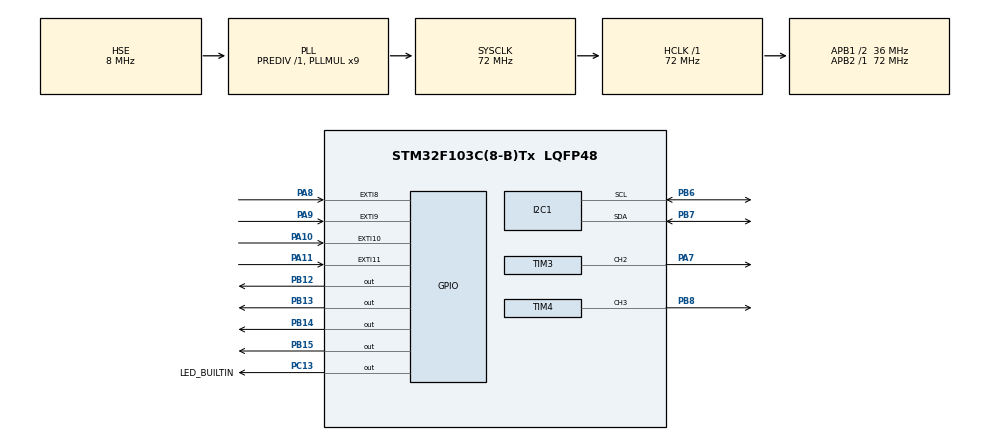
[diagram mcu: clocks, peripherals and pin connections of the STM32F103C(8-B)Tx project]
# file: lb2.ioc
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Mcu.Family=STM32F1
Mcu.Name=STM32F103C(8-B)Tx
Mcu.Package=LQFP48
NVIC.EXTI15_10_IRQn=true\:5\:0\:true\:false\:true\:true\:true\:true
NVIC.EXTI9_5_IRQn=true\:5\:0\:true\:false\:true\:true\:true\:true
NVIC.PriorityGroup=NVIC_PRIORITYGROUP_4
NVIC.TIM2_IRQn=true\:0\:0\:false\:false\:true\:true\:true\:true
PA10.GPIO_ModeDefaultEXTI=GPIO_MODE_IT_FALLING
PA10.GPIO_PuPd=GPIO_PULLUP
PA10.Signal=GPXTI10
PA11.GPIO_ModeDefaultEXTI=GPIO_MODE_IT_FALLING
PA11.GPIO_PuPd=GPIO_PULLUP
PA11.Signal=GPXTI11
PA13.Mode=Serial_Wire
PA13.Signal=SYS_JTMS-SWDIO
PA14.Mode=Serial_Wire
PA14.Signal=SYS_JTCK-SWCLK
PA7.Signal=S_TIM3_CH2
PA8.GPIO_ModeDefaultEXTI=GPIO_MODE_IT_FALLING
PA8.GPIO_PuPd=GPIO_PULLUP
PA8.Signal=GPXTI8
PA9.GPIO_ModeDefaultEXTI=GPIO_MODE_IT_FALLING
PA9.GPIO_PuPd=GPIO_PULLUP
PA9.Signal=GPXTI9
PB12.Signal=GPIO_Output
PB13.Signal=GPIO_Output
PB14.Signal=GPIO_Output
PB15.Signal=GPIO_Output
PB6.Mode=I2C
PB6.Signal=I2C1_SCL
PB7.Mode=I2C
PB7.Signal=I2C1_SDA
PB8.Signal=S_TIM4_CH3
PC13-TAMPER-RTC.GPIO_Label=LED_BUILTIN
PC13-TAMPER-RTC.PinState=GPIO_PIN_SET
PC13-TAMPER-RTC.Signal=GPIO_Output
PD0-OSC_IN.Mode=HSE-External-Oscillator
PD0-OSC_IN.Signal=RCC_OSC_IN
PD1-OSC_OUT.Mode=HSE-External-Oscillator
PD1-OSC_OUT.Signal=RCC_OSC_OUT
ProjectManager.HeapSize=0x200
ProjectManager.StackSize=0x400
ProjectManager.TargetToolchain=STM32CubeIDE
RCC.AHBFreq_Value=72000000
RCC.APB1CLKDivider=RCC_HCLK_DIV2
RCC.APB1Freq_Value=36000000
RCC.APB1TimFreq_Value=72000000
RCC.APB2Freq_Value=72000000
RCC.APB2TimFreq_Value=72000000
RCC.HCLKFreq_Value=72000000
RCC.PLLMUL=RCC_PLL_MUL9
RCC.PLLSourceVirtual=RCC_PLLSOURCE_HSE
RCC.SYSCLKFreq_VALUE=72000000
RCC.SYSCLKSource=RCC_SYSCLKSOURCE_PLLCLK
RCC.USBFreq_Value=72000000
SH.S_TIM3_CH2.0=TIM3_CH2,PWM Generation2 CH2
SH.S_TIM4_CH3.0=TIM4_CH3,PWM Generation3 CH3
TIM2.Period=499
TIM2.Prescaler=7199
TIM3.Channel-PWM\ Generation2\ CH2=TIM_CHANNEL_2
TIM3.Period=19999
TIM3.Prescaler=71
TIM4.Channel-PWM\ Generation3\ CH3=TIM_CHANNEL_3
TIM4.Period=19999
TIM4.Prescaler=71
VP_TIM2_VS_ClockSourceINT.Mode=Internal
VP_TIM2_VS_OPM.Mode=OPM_bit
VP_TIM3_VS_ClockSourceINT.Mode=Internal
VP_TIM4_VS_ClockSourceINT.Mode=Internal
board=custom

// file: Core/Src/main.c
/* USER CODE BEGIN Header */
/**
  ******************************************************************************
  * @file           : main.c
  * @brief          : Main program body
  ******************************************************************************
  * @attention
  *
  * Copyright (c) 2025 STMicroelectronics.
  * All rights reserved.
  *
  * This software is licensed under terms that can be found in the LICENSE file
  * in the root directory of this software component.
  * If no LICENSE file comes with this software, it is provided AS-IS.
  *
  ******************************************************************************
  */
/* USER CODE END Header */
#include "main.h"

/* USER CODE BEGIN Includes */
#include "keypad.h"
#include "app_logic.h"
#include "screen_ui.h"
#include "ui_feedback.h"
/* USER CODE END Includes */

I2C_HandleTypeDef hi2c1;

TIM_HandleTypeDef htim2;
TIM_HandleTypeDef htim3;
TIM_HandleTypeDef htim4;

/* USER CODE BEGIN PV */
static char last_pressed_key;
volatile Keypad_State_t g_keypad_state = KEY_STATE_IDLE;
volatile char g_keypad_last_key = '\0';
/* USER CODE END PV */

void SystemClock_Config(void);
static void MX_GPIO_Init(void);
static void MX_TIM3_Init(void);
static void MX_TIM4_Init(void);
static void MX_I2C1_Init(void);
static void MX_TIM2_Init(void);

int main(void)
{

  /* MCU Configuration--------------------------------------------------------*/

  /* Reset of all peripherals, Initializes the Flash interface and the Systick. */
  HAL_Init();

  /* Configure the system clock */
  SystemClock_Config();

  /* Initialize all configured peripherals */
  MX_GPIO_Init();
  MX_TIM3_Init();
  MX_TIM4_Init();
  MX_I2C1_Init();
  MX_TIM2_Init();
  /* USER CODE BEGIN 2 */
  HAL_TIM_PWM_Start(&htim3, TIM_CHANNEL_2); // A7
  HAL_TIM_PWM_Start(&htim4, TIM_CHANNEL_3); // B8
  Screen_UI_Init();
  /* USER CODE END 2 */

  /* Infinite loop */
  /* USER CODE BEGIN WHILE */
  while (1)
  {
	  // 1. Клавіша натиснута
	  if (g_keypad_state == KEY_STATE_READY)
	      {
	          // Переходимо в стан очікування, поки клавішу не відпустять
	          g_keypad_state = KEY_STATE_WAIT_FOR_RELEASE;

	          // Копіюємо і обробляємо натиснуту клавішу
	          last_pressed_key = g_keypad_last_key;

	          App_Pulse_Values_t pulses = App_Process_Keypress(last_pressed_key);

	          // Оновлюємо ШІМ та екран
	          __HAL_TIM_SET_COMPARE(&htim3, TIM_CHANNEL_2, pulses.servo_pulse);
	          __HAL_TIM_SET_COMPARE(&htim4, TIM_CHANNEL_3, pulses.lab_pulse);

	          Screen_UI_Display_Values(last_pressed_key, pulses.lab_pulse, pulses.servo_pulse);
	      }

	  // 2. Перевіряємо, чи клавішу відпустили
	  if (g_keypad_state == KEY_STATE_WAIT_FOR_RELEASE)
	  {
		  // Постійно опитуємо клавіатуру (це швидко, без затримок)
		  if (Keypad_Get_Pressed_Key_NO_DELAY() == '\0')
		  {
			  // Клавіша фізично відпущена!
			  // Переходимо в стан анти-брязкоту для ВІДПУСКАННЯ
			  g_keypad_state = KEY_STATE_DEBOUNCING_RELEASE;

			  // Запускаємо той самий таймер TIM2 ще раз,
			  // щоб відфільтрувати брязкіт відпускання
			  HAL_TIM_Base_Start_IT(&htim2);
		  }
	  }

    /* USER CODE END WHILE */

  }
}

void SystemClock_Config(void)
{
  RCC_OscInitTypeDef RCC_OscInitStruct = {0};
  RCC_ClkInitTypeDef RCC_ClkInitStruct = {0};

  /** Initializes the RCC Oscillators according to the specified parameters
  * in the RCC_OscInitTypeDef structure.
  */
  RCC_OscInitStruct.OscillatorType = RCC_OSCILLATORTYPE_HSE;
  RCC_OscInitStruct.HSEState = RCC_HSE_ON;
  RCC_OscInitStruct.HSEPredivValue = RCC_HSE_PREDIV_DIV1;
  RCC_OscInitStruct.HSIState = RCC_HSI_ON;
  RCC_OscInitStruct.PLL.PLLState = RCC_PLL_ON;
  RCC_OscInitStruct.PLL.PLLSource = RCC_PLLSOURCE_HSE;
  RCC_OscInitStruct.PLL.PLLMUL = RCC_PLL_MUL9;
  if (HAL_RCC_OscConfig(&RCC_OscInitStruct) != HAL_OK)
  {
    Error_Handler();
  }

  /** Initializes the CPU, AHB and APB buses clocks
  */
  RCC_ClkInitStruct.ClockType = RCC_CLOCKTYPE_HCLK|RCC_CLOCKTYPE_SYSCLK
                              |RCC_CLOCKTYPE_PCLK1|RCC_CLOCKTYPE_PCLK2;
  RCC_ClkInitStruct.SYSCLKSource = RCC_SYSCLKSOURCE_PLLCLK;
  RCC_ClkInitStruct.AHBCLKDivider = RCC_SYSCLK_DIV1;
  RCC_ClkInitStruct.APB1CLKDivider = RCC_HCLK_DIV2;
  RCC_ClkInitStruct.APB2CLKDivider = RCC_HCLK_DIV1;

  if (HAL_RCC_ClockConfig(&RCC_ClkInitStruct, FLASH_LATENCY_2) != HAL_OK)
  {
    Error_Handler();
  }
}

static void MX_I2C1_Init(void)
{

  hi2c1.Instance = I2C1;
  hi2c1.Init.ClockSpeed = 100000;
  hi2c1.Init.DutyCycle = I2C_DUTYCYCLE_2;
  hi2c1.Init.OwnAddress1 = 0;
  hi2c1.Init.AddressingMode = I2C_ADDRESSINGMODE_7BIT;
  hi2c1.Init.DualAddressMode = I2C_DUALADDRESS_DISABLE;
  hi2c1.Init.OwnAddress2 = 0;
  hi2c1.Init.GeneralCallMode = I2C_GENERALCALL_DISABLE;
  hi2c1.Init.NoStretchMode = I2C_NOSTRETCH_DISABLE;
  if (HAL_I2C_Init(&hi2c1) != HAL_OK)
  {
    Error_Handler();
  }

}

static void MX_TIM2_Init(void)
{

  TIM_ClockConfigTypeDef sClockSourceConfig = {0};
  TIM_MasterConfigTypeDef sMasterConfig = {0};

  htim2.Instance = TIM2;
  htim2.Init.Prescaler = 7199;
  htim2.Init.CounterMode = TIM_COUNTERMODE_UP;
  htim2.Init.Period = 499;
  htim2.Init.ClockDivision = TIM_CLOCKDIVISION_DIV1;
  htim2.Init.AutoReloadPreload = TIM_AUTORELOAD_PRELOAD_DISABLE;
  if (HAL_TIM_Base_Init(&htim2) != HAL_OK)
  {
    Error_Handler();
  }
  sClockSourceConfig.ClockSource = TIM_CLOCKSOURCE_INTERNAL;
  if (HAL_TIM_ConfigClockSource(&htim2, &sClockSourceConfig) != HAL_OK)
  {
    Error_Handler();
  }
  if (HAL_TIM_OnePulse_Init(&htim2, TIM_OPMODE_SINGLE) != HAL_OK)
  {
    Error_Handler();
  }
  sMasterConfig.MasterOutputTrigger = TIM_TRGO_RESET;
  sMasterConfig.MasterSlaveMode = TIM_MASTERSLAVEMODE_DISABLE;
  if (HAL_TIMEx_MasterConfigSynchronization(&htim2, &sMasterConfig) != HAL_OK)
  {
    Error_Handler();
  }

}

static void MX_TIM3_Init(void)
{

  TIM_ClockConfigTypeDef sClockSourceConfig = {0};
  TIM_MasterConfigTypeDef sMasterConfig = {0};
  TIM_OC_InitTypeDef sConfigOC = {0};

  htim3.Instance = TIM3;
  htim3.Init.Prescaler = 71;
  htim3.Init.CounterMode = TIM_COUNTERMODE_UP;
  htim3.Init.Period = 19999;
  htim3.Init.ClockDivision = TIM_CLOCKDIVISION_DIV1;
  htim3.Init.AutoReloadPreload = TIM_AUTORELOAD_PRELOAD_DISABLE;
  if (HAL_TIM_Base_Init(&htim3) != HAL_OK)
  {
    Error_Handler();
  }
  sClockSourceConfig.ClockSource = TIM_CLOCKSOURCE_INTERNAL;
  if (HAL_TIM_ConfigClockSource(&htim3, &sClockSourceConfig) != HAL_OK)
  {
    Error_Handler();
  }
  if (HAL_TIM_PWM_Init(&htim3) != HAL_OK)
  {
    Error_Handler();
  }
  sMasterConfig.MasterOutputTrigger = TIM_TRGO_RESET;
  sMasterConfig.MasterSlaveMode = TIM_MASTERSLAVEMODE_DISABLE;
  if (HAL_TIMEx_MasterConfigSynchronization(&htim3, &sMasterConfig) != HAL_OK)
  {
    Error_Handler();
  }
  sConfigOC.OCMode = TIM_OCMODE_PWM1;
  sConfigOC.Pulse = 0;
  sConfigOC.OCPolarity = TIM_OCPOLARITY_HIGH;
  sConfigOC.OCFastMode = TIM_OCFAST_DISABLE;
  if (HAL_TIM_PWM_ConfigChannel(&htim3, &sConfigOC, TIM_CHANNEL_2) != HAL_OK)
  {
    Error_Handler();
  }
  HAL_TIM_MspPostInit(&htim3);

}

static void MX_TIM4_Init(void)
{

  TIM_ClockConfigTypeDef sClockSourceConfig = {0};
  TIM_MasterConfigTypeDef sMasterConfig = {0};
  TIM_OC_InitTypeDef sConfigOC = {0};

  htim4.Instance = TIM4;
  htim4.Init.Prescaler = 71;
  htim4.Init.CounterMode = TIM_COUNTERMODE_UP;
  htim4.Init.Period = 19999;
  htim4.Init.ClockDivision = TIM_CLOCKDIVISION_DIV1;
  htim4.Init.AutoReloadPreload = TIM_AUTORELOAD_PRELOAD_DISABLE;
  if (HAL_TIM_Base_Init(&htim4) != HAL_OK)
  {
    Error_Handler();
  }
  sClockSourceConfig.ClockSource = TIM_CLOCKSOURCE_INTERNAL;
  if (HAL_TIM_ConfigClockSource(&htim4, &sClockSourceConfig) != HAL_OK)
  {
    Error_Handler();
  }
  if (HAL_TIM_PWM_Init(&htim4) != HAL_OK)
  {
    Error_Handler();
  }
  sMasterConfig.MasterOutputTrigger = TIM_TRGO_RESET;
  sMasterConfig.MasterSlaveMode = TIM_MASTERSLAVEMODE_DISABLE;
  if (HAL_TIMEx_MasterConfigSynchronization(&htim4, &sMasterConfig) != HAL_OK)
  {
    Error_Handler();
  }
  sConfigOC.OCMode = TIM_OCMODE_PWM1;
  sConfigOC.Pulse = 0;
  sConfigOC.OCPolarity = TIM_OCPOLARITY_HIGH;
  sConfigOC.OCFastMode = TIM_OCFAST_DISABLE;
  if (HAL_TIM_PWM_ConfigChannel(&htim4, &sConfigOC, TIM_CHANNEL_3) != HAL_OK)
  {
    Error_Handler();
  }
  HAL_TIM_MspPostInit(&htim4);

}

static void MX_GPIO_Init(void)
{
  GPIO_InitTypeDef GPIO_InitStruct = {0};

  /* GPIO Ports Clock Enable */
  __HAL_RCC_GPIOC_CLK_ENABLE();
  __HAL_RCC_GPIOD_CLK_ENABLE();
  __HAL_RCC_GPIOA_CLK_ENABLE();
  __HAL_RCC_GPIOB_CLK_ENABLE();

  /*Configure GPIO pin Output Level */
  HAL_GPIO_WritePin(LED_BUILTIN_GPIO_Port, LED_BUILTIN_Pin, GPIO_PIN_SET);

  /*Configure GPIO pin Output Level */
  HAL_GPIO_WritePin(GPIOB, GPIO_PIN_12|GPIO_PIN_13|GPIO_PIN_14|GPIO_PIN_15, GPIO_PIN_RESET);

  /*Configure GPIO pin : LED_BUILTIN_Pin */
  GPIO_InitStruct.Pin = LED_BUILTIN_Pin;
  GPIO_InitStruct.Mode = GPIO_MODE_OUTPUT_PP;
  GPIO_InitStruct.Pull = GPIO_NOPULL;
  GPIO_InitStruct.Speed = GPIO_SPEED_FREQ_LOW;
  HAL_GPIO_Init(LED_BUILTIN_GPIO_Port, &GPIO_InitStruct);

  /*Configure GPIO pins : PB12 PB13 PB14 PB15 */
  GPIO_InitStruct.Pin = GPIO_PIN_12|GPIO_PIN_13|GPIO_PIN_14|GPIO_PIN_15;
  GPIO_InitStruct.Mode = GPIO_MODE_OUTPUT_PP;
  GPIO_InitStruct.Pull = GPIO_NOPULL;
  GPIO_InitStruct.Speed = GPIO_SPEED_FREQ_LOW;
  HAL_GPIO_Init(GPIOB, &GPIO_InitStruct);

  /*Configure GPIO pins : PA8 PA9 PA10 PA11 */
  GPIO_InitStruct.Pin = GPIO_PIN_8|GPIO_PIN_9|GPIO_PIN_10|GPIO_PIN_11;
  GPIO_InitStruct.Mode = GPIO_MODE_IT_FALLING;
  GPIO_InitStruct.Pull = GPIO_PULLUP;
  HAL_GPIO_Init(GPIOA, &GPIO_InitStruct);

  /* EXTI interrupt init*/
  HAL_NVIC_SetPriority(EXTI9_5_IRQn, 5, 0);
  HAL_NVIC_EnableIRQ(EXTI9_5_IRQn);

  HAL_NVIC_SetPriority(EXTI15_10_IRQn, 5, 0);
  HAL_NVIC_EnableIRQ(EXTI15_10_IRQn);

}

/* USER CODE BEGIN 4 */
void HAL_GPIO_EXTI_Callback(uint16_t GPIO_Pin) {

	if (((GPIO_Pin == GPIO_PIN_8) ||
	         (GPIO_Pin == GPIO_PIN_9) ||
	         (GPIO_Pin == GPIO_PIN_10) ||
	         (GPIO_Pin == GPIO_PIN_11)) &&
	        (g_keypad_state == KEY_STATE_IDLE)){
		UI_Blink_Start();

		g_keypad_state = KEY_STATE_DEBOUNCING_PRESS;
        HAL_TIM_Base_Stop_IT(&htim2);
        // Вимикаємо переривання, щоб уникнути брязкоту
        HAL_NVIC_DisableIRQ(EXTI9_5_IRQn); // <--- Ось ця функція!
        HAL_NVIC_DisableIRQ(EXTI15_10_IRQn);

        __HAL_TIM_SET_COUNTER(&htim2, 0); // Скидаємо лічильник
		__HAL_TIM_CLEAR_FLAG(&htim2, TIM_FLAG_UPDATE);
        // Запускаємо таймер на 50мс (One-Pulse Mode)
        HAL_TIM_Base_Start_IT(&htim2);
    }
}

/**
  * @brief  Обробник Таймера (завершення 50мс анти-брязкоту)
  */
void HAL_TIM_PeriodElapsedCallback(TIM_HandleTypeDef *htim) {
    if (htim->Instance == TIM2) { // Це наш таймер

        // 1. Завжди зупиняємо таймер
        HAL_TIM_Base_Stop_IT(&htim2);
        __HAL_TIM_SET_COUNTER(&htim2, 0);
        __HAL_TIM_CLEAR_FLAG(&htim2, TIM_FLAG_UPDATE);

        // 2. Розбираємось, чому нас викликали
        if (g_keypad_state == KEY_STATE_DEBOUNCING_PRESS)
        {
            // --- Закінчився анти-брязкіт НАТИСКАННЯ ---
            UI_Blink_End(); // Вимикаємо LED рівно через 50мс

            char key = Keypad_Get_Pressed_Key_NO_DELAY();
            if (key != '\0') {
                // Клавіша реальна
                g_keypad_last_key = key;
                g_keypad_state = KEY_STATE_READY;
            } else {
                // Це був просто брязкіт, клавіша не натиснута
                g_keypad_state = KEY_STATE_IDLE;
            }
        }
        else if (g_keypad_state == KEY_STATE_DEBOUNCING_RELEASE)
        {
            // --- Закінчився анти-брязкіт ВІДПУСКАННЯ ---

            // Перевіряємо, чи клавіша *досі* відпущена
            if (Keypad_Get_Pressed_Key_NO_DELAY() == '\0') {
                g_keypad_state = KEY_STATE_IDLE;
            } else {
                // Це був брязкіт, але користувач знову натиснув
                g_keypad_state = KEY_STATE_WAIT_FOR_RELEASE;
            }
        }

        // 3. Завжди очищуємо прапорці EXTI, які могли спрацювати
        __HAL_GPIO_EXTI_CLEAR_IT(GPIO_PIN_8);
        __HAL_GPIO_EXTI_CLEAR_IT(GPIO_PIN_9);
        __HAL_GPIO_EXTI_CLEAR_IT(GPIO_PIN_10);
        __HAL_GPIO_EXTI_CLEAR_IT(GPIO_PIN_11);

        // 4. Вмикаємо переривання, ТІЛЬКИ якщо ми 100% повернулись в IDLE
        if (g_keypad_state == KEY_STATE_IDLE) {
             HAL_NVIC_EnableIRQ(EXTI9_5_IRQn);
             HAL_NVIC_EnableIRQ(EXTI15_10_IRQn);
        }
    }
}
/* USER CODE END 4 */

void Error_Handler(void)
{
  __disable_irq();
  while (1)
  {
  }
}
#ifdef USE_FULL_ASSERT
/**
  * @brief  Reports the name of the source file and the source line number
  *         where the assert_param error has occurred.
  * @param  file: pointer to the source file name
  * @param  line: assert_param error line source number
  * @retval None
  */
void assert_failed(uint8_t *file, uint32_t line)
{
  /* USER CODE BEGIN 6 */
  /* User can add his own implementation to report the file name and line number,
     ex: printf("Wrong parameters value: file %s on line %d\r\n", file, line) */
	printf("Wrong parameters value: file %s on line %d\r\n", file, line);
  /* USER CODE END 6 */
}
#endif /* USE_FULL_ASSERT */
